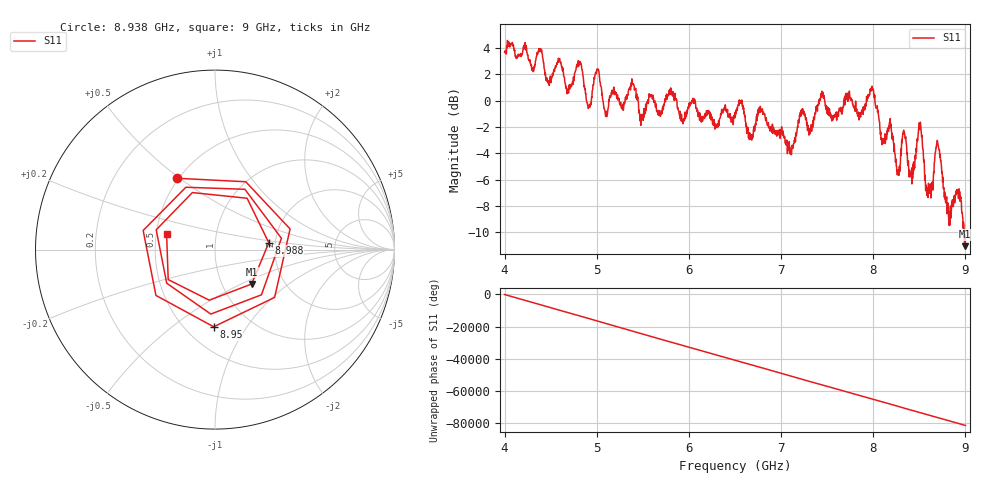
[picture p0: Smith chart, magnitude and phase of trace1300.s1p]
! Created with skrf 1.8.0 (http://scikit-rf.org).
# Hz S RI R 50.0
!freq ReS11 ImS11
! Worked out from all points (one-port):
!   1601 points, 4 GHz to 9 GHz, reference 50 ohm
!   lowest |S11| = -11.1 dB at 8.991 GHz (marker M1), VSWR 1.78, Z = 68.8 - j28.6 ohm
!   |S11| at or under -10 dB: 8.986346 GHz to end of sweep
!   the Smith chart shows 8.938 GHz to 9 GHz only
!   S11 on the Smith chart (normalised r, x): 8.938 GHz: 0.49, +0.49; 8.95 GHz: 0.68, -0.72; 8.988 GHz: 1.85, +0.15; 9 GHz: 0.57, +0.11
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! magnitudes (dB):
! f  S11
! 4 GHz  3.7
! 4.625 GHz  2.4
! 4.697 GHz  0.9
! 4.819 GHz  2.8
! 4.912 GHz  -0.5
! 5.003 GHz  2.4
! 5.097 GHz  -1.2
! 5.25 GHz  -0.2
! 5.875 GHz  -0.6
! 6.5 GHz  -0.9
! 7.125 GHz  -3.4
! 7.225 GHz  -0.7
! 7.309 GHz  -2.1
! 7.75 GHz  0.1
! 7.991 GHz  0.8
! 8.262 GHz  -5.6
! 8.331 GHz  -2.2
! 8.375 GHz  -4.9
! 8.425 GHz  -5.7
! 8.506 GHz  -2.0
! 8.591 GHz  -6.7
! 8.7 GHz  -3.2
! 8.822 GHz  -9.0
! 8.938 GHz  -6.9
! 8.95 GHz  -7.3
! 8.988 GHz  -10.4
! 8.991 GHz  -11.1
! 9 GHz  -11.0
